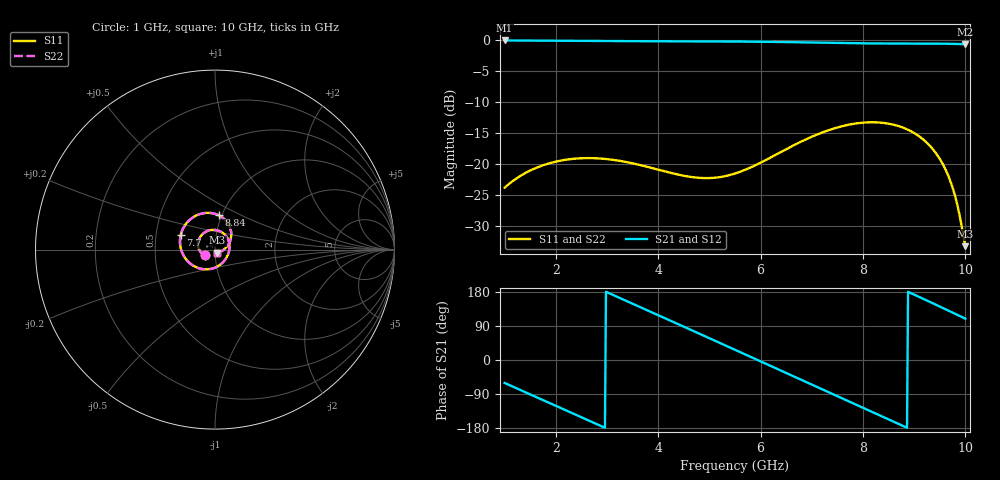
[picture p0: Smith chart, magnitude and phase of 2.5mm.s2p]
! Touchstone file exported from HFSS 2018.2.0
!  File:  C:/Users/10024/OneDrive - The University of Nottingham Ningbo China/Year 4/Final Year Project/HFSS project/Passive_Resonator_Antenna.aedt
!  Generated:  5:08:31 下午  3月 11, 2022
!  Design:  SMA_Thru
!  Project:  Passive_Resonator_Antenna
!  Setup:  Setup1
!  Solution:  Sweep
! Variables:
!  MW = 2.5mm
!  ThruL = 10mm
!  g = 0.2mm
!  subH = 0.8mm
!  subX = 20mm
!  subY = 20mm
!  tapW = 1.992mm
# GHZ S MA R 50.000000
! Modal data exported
! Port[1] = SMA_CONNECTOR1_1:1
! Port[2] = SMA_CONNECTOR2_1:1
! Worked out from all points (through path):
!   451 points, 1 GHz to 10 GHz, reference 50 ohm
!   highest |S21| = -0.03 dB at 1 GHz (marker M1); lowest = -0.6 dB at 10 GHz (marker M2)
!   group delay of S21, straight-line fit = 169 ps
!   lowest |S11| = -33.2 dB at 10 GHz (marker M3), VSWR 1.04, Z = 51.3 - j1.82 ohm
!   |S11| at or under -10 dB: start of sweep to end of sweep
!   |S22| runs from -32.9 to -13.2 dB; largest |S21 - S12| = 1.8e-13
!   S11 on the Smith chart (normalised r, x): 1 GHz: 0.89, -0.06; 7.7 GHz: 0.67, +0.11; 8.84 GHz: 0.96, +0.38; 10 GHz: 1.03, -0.04
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1  0.06456 -150.5  0.9965 -60.6  0.9965 -60.6  0.06456 -150.5
! Gamma ! 0.0151858380091253 30.3716836111617 0.0151858380091358 30.3716836111915
! Port Impedance50 0 50 0
1.38  0.08372 -173.2  0.9941 -83.5  0.9941 -83.5  0.08372 -173.1
1.72  0.09698 166.6  0.9918 -104.1  0.9918 -104.1  0.09699 166.8
2.5  0.1116 120.4  0.9872 -151.1  0.9872 -151.1  0.1117 120.8
2.86  0.1111 99.2  0.9856 -172.8  0.9856 -172.8  0.1112 99.8
3.22  0.1068 78.1  0.9844 165.5  0.9844 165.5  0.1069 78.8
3.58  0.09986 57.0  0.9833 143.7  0.9833 143.7  0.09995 57.9
4  0.09032 32.4  0.9822 118.3  0.9822 118.3  0.09044 33.5
4.36  0.0829 11.0  0.9811 96.4  0.9811 96.4  0.08305 12.4
4.72  0.0781 -10.8  0.98 74.6  0.98 74.6  0.07824 -9.3
5.5  0.08403 -60.6  0.9764 27.0  0.9764 27.0  0.08404 -59.1
5.86  0.09635 -84.3  0.9739 4.9  0.9739 4.9  0.09626 -83.0
6.22  0.1146 -108.0  0.9706 -17.1  0.9706 -17.1  0.1144 -106.9
7  0.1665 -158.3  0.96 -65.0  0.96 -65.0  0.1662 -157.7
7.34  0.1888 -180.0  0.9543 -85.8  0.9543 -85.8  0.1885 -179.4
7.7  0.2073 157.3  0.9485 -107.8  0.9485 -107.8  0.207 157.7
8.5  0.2122 106.4  0.941 -156.6  0.941 -156.6  0.2121 106.7
8.84  0.1928 84.1  0.9407 -177.6  0.9407 -177.6  0.1928 84.3
9.2  0.1552 59.3  0.9407 160.0  0.9407 160.0  0.1555 59.4
9.58  0.0963 29.3  0.9383 136.0  0.9383 136.0  0.09681 29.3
9.8  0.05507 4.9  0.9347 121.9  0.9347 121.9  0.05578 4.9
10  0.02178 -54.4  0.9295 109.1  0.9295 109.1  0.02261 -53.2
